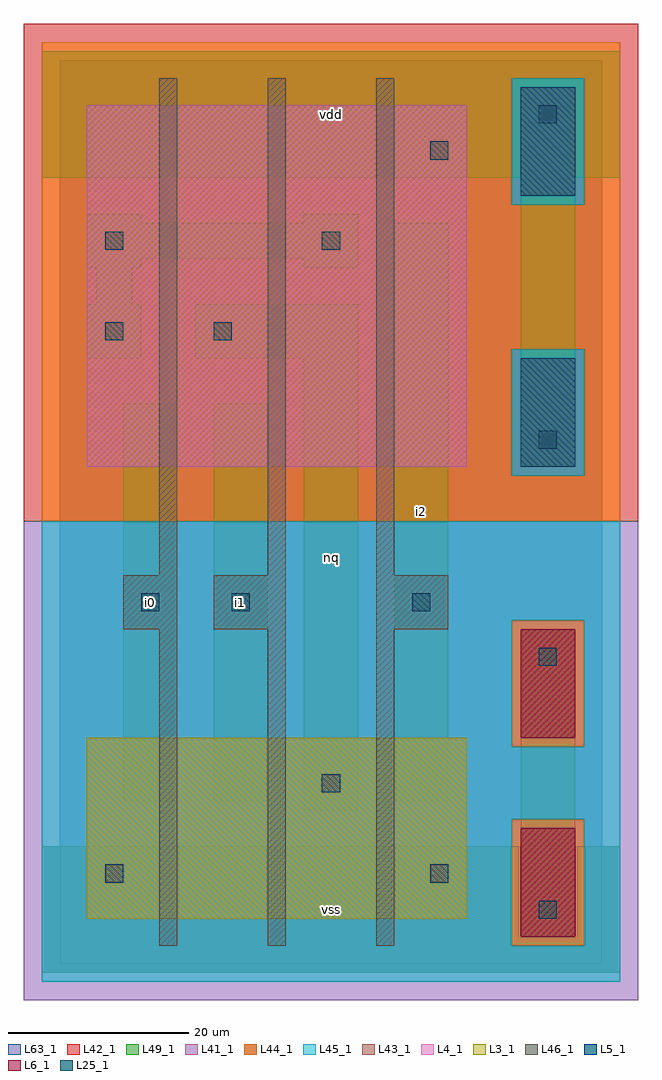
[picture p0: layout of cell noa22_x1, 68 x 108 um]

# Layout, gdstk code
import gdstk
lib = gdstk.Library(unit=1e-6, precision=1e-09)
def R(c, l, rs):  # rectangles x0, y0, x1, y1
    for r in rs: c.add(gdstk.rectangle(r[:2], r[2:], *l))
def A(c, l, x, y, w, h, nx, ny, dx, dy):  # array of equal rectangles
    R(c, l, [(x+i*dx, y+j*dy, x+i*dx+w, y+j*dy+h) for i in range(nx) for j in range(ny)])
L3_1 = (3, 1)
L4_1 = (4, 1)
L5_1 = (5, 1)
L6_1 = (6, 1)
L25_1 = (25, 1)
L41_1 = (41, 1)
L42_1 = (42, 1)
L43_1 = (43, 1)
L44_1 = (44, 1)
L45_1 = (45, 1)
L46_1 = (46, 1)
L49_1 = (49, 1)
L63_1 = (63, 1)

noa22_x1 = lib.new_cell('noa22_x1')
R(noa22_x1, L3_1, [(3,5,45,25)])
R(noa22_x1, L4_1, [(3,55,45,95)])
R(noa22_x1, L5_1, [(51,55,57,67), (51,85,57,97)])
R(noa22_x1, L6_1, [(51,3,57,15), (51,25,57,37)])
R(noa22_x1, L25_1, [(53,5,55,7), (5,9,7,11), (41,9,43,11), (29,19,31,21), (53,33,55,35), (9,39,11,41), (19,39,21,41), (39,39,41,41), (53,57,55,59), (5,69,7,71), (17,69,19,71), (5,79,7,81), (29,79,31,81), (41,89,43,91), (53,93,55,95)])
R(noa22_x1, L41_1, [(-4,-4,64,49)])
R(noa22_x1, L42_1, [(-4,49,64,104)])
A(noa22_x1, L43_1, 51, 25, 6, 12, 1, 3, 0, 30)
R(noa22_x1, L43_1, [(51,3,57,15), (3,5,45,25), (3,55,45,95)])
R(noa22_x1, L44_1, [(50,2,58,16), (50,24,58,38), (-2,49,62,54), (-2,54,50,68), (58,54,62,68), (-2,68,62,84), (-2,84,50,98), (58,84,62,98), (-2,98,62,102)])
R(noa22_x1, L45_1, [(-2,-2,62,2), (-2,2,50,16), (58,2,62,16), (-2,16,62,24), (-2,24,50,38), (58,24,62,38), (-2,38,62,49), (50,54,58,68), (50,84,58,98)])
A(noa22_x1, L46_1, 11, 2, 2, 35, 3, 1, 12, 0)
A(noa22_x1, L46_1, 11, 43, 2, 55, 3, 1, 12, 0)
R(noa22_x1, L46_1, [(7,37,13,43), (17,37,25,43), (35,37,43,43)])
R(noa22_x1, L49_1, [(-2,-1,62,13), (51,13,57,37), (27,17,33,67), (7,18,13,62), (17,18,23,62), (37,18,43,82), (51,55,57,87), (3,67,9,73), (15,67,33,73), (4,73,8,77), (3,77,9,78), (27,77,33,78), (3,78,33,82), (3,82,9,83), (27,82,33,83), (-2,87,62,101)])
R(noa22_x1, L63_1, [(0,0,60,100)])
noa22_x1.add(gdstk.Label('i0', (10,40), layer=49, texttype=1))
noa22_x1.add(gdstk.Label('i0', (10,40), layer=49, texttype=1))
noa22_x1.add(gdstk.Label('i1', (20,40), layer=49, texttype=1))
noa22_x1.add(gdstk.Label('i1', (20,40), layer=49, texttype=1))
noa22_x1.add(gdstk.Label('vss', (30,6), layer=49, texttype=1))
noa22_x1.add(gdstk.Label('vss', (30,6), layer=49, texttype=1))
noa22_x1.add(gdstk.Label('nq', (30,45), layer=49, texttype=1))
noa22_x1.add(gdstk.Label('nq', (30,45), layer=49, texttype=1))
noa22_x1.add(gdstk.Label('i2', (40,50), layer=49, texttype=1))
noa22_x1.add(gdstk.Label('i2', (40,50), layer=49, texttype=1))
noa22_x1.add(gdstk.Label('vdd', (30,94), layer=49, texttype=1))
noa22_x1.add(gdstk.Label('vdd', (30,94), layer=49, texttype=1))

lib.write_gds('noa22_x1.gds')
